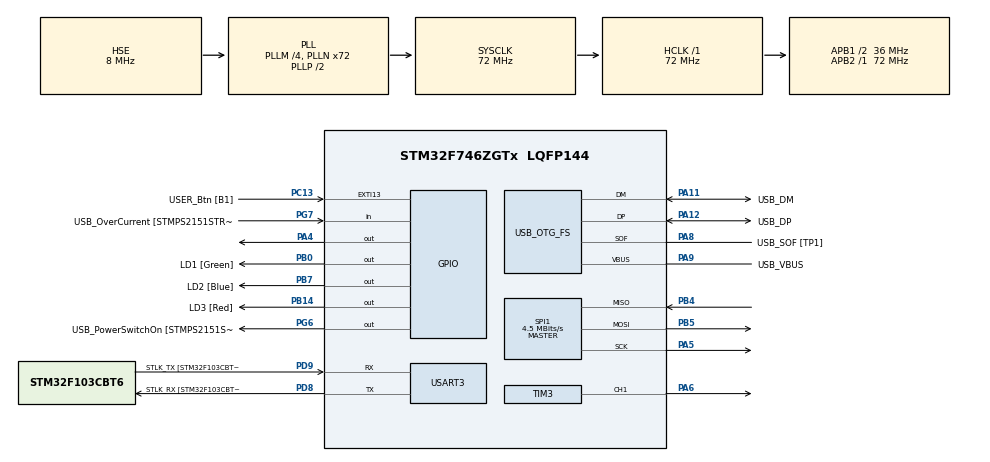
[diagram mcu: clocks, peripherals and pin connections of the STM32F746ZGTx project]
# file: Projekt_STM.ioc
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Mcu.Family=STM32F7
Mcu.Name=STM32F746ZGTx
Mcu.Package=LQFP144
NVIC.PriorityGroup=NVIC_PRIORITYGROUP_4
PA1.GPIO_Label=RMII_REF_CLK [LAN8742A-CZ-TR_REFCLK0]
PA1.Signal=ETH_REF_CLK
PA10.GPIO_Label=USB_ID
PA10.Signal=USB_OTG_FS_ID
PA11.GPIO_Label=USB_DM
PA11.Mode=Device_Only
PA11.Signal=USB_OTG_FS_DM
PA12.GPIO_Label=USB_DP
PA12.Mode=Device_Only
PA12.Signal=USB_OTG_FS_DP
PA13.GPIO_Label=TMS
PA13.Mode=Serial_Wire
PA13.Signal=SYS_JTMS-SWDIO
PA14.GPIO_Label=TCK
PA14.Mode=Serial_Wire
PA14.Signal=SYS_JTCK-SWCLK
PA2.GPIO_Label=RMII_MDIO [LAN8742A-CZ-TR_MDIO]
PA2.Signal=ETH_MDIO
PA4.Signal=GPIO_Output
PA5.Mode=Full_Duplex_Master
PA5.Signal=SPI1_SCK
PA6.Signal=S_TIM3_CH1
PA7.GPIO_Label=RMII_CRS_DV [LAN8742A-CZ-TR_CRS_DV]
PA7.Signal=ETH_CRS_DV
PA8.GPIO_Label=USB_SOF [TP1]
PA8.Mode=Activate_SOF_FS
PA8.Signal=USB_OTG_FS_SOF
PA9.GPIO_Label=USB_VBUS
PA9.Mode=Activate_VBUS
PA9.Signal=USB_OTG_FS_VBUS
PB0.GPIO_Label=LD1 [Green]
PB0.Signal=GPIO_Output
PB13.GPIO_Label=RMII_TXD1 [LAN8742A-CZ-TR_TXD1]
PB13.Signal=ETH_TXD1
PB14.GPIO_Label=LD3 [Red]
PB14.Signal=GPIO_Output
PB3.GPIO_Label=SW0
PB3.Signal=SYS_JTDO-SWO
PB4.Mode=Full_Duplex_Master
PB4.Signal=SPI1_MISO
PB5.Mode=Full_Duplex_Master
PB5.Signal=SPI1_MOSI
PB7.GPIO_Label=LD2 [Blue]
PB7.Signal=GPIO_Output
PC1.GPIO_Label=RMII_MDC [LAN8742A-CZ-TR_MDC]
PC1.Signal=ETH_MDC
PC13.GPIO_Label=USER_Btn [B1]
PC13.Signal=GPXTI13
PC14/OSC32_IN.Mode=LSE-External-Oscillator
PC14/OSC32_IN.Signal=RCC_OSC32_IN
PC15/OSC32_OUT.Mode=LSE-External-Oscillator
PC15/OSC32_OUT.Signal=RCC_OSC32_OUT
PC4.GPIO_Label=RMII_RXD0 [LAN8742A-CZ-TR_RXD0]
PC4.Signal=ETH_RXD0
PC5.GPIO_Label=RMII_RXD1 [LAN8742A-CZ-TR_RXD1]
PC5.Signal=ETH_RXD1
PD8.GPIO_Label=STLK_RX [STM32F103CBT6_PA3]
PD8.Mode=Asynchronous
PD8.Signal=USART3_TX
PD9.GPIO_Label=STLK_TX [STM32F103CBT6_PA2]
PD9.Mode=Asynchronous
PD9.Signal=USART3_RX
PG11.GPIO_Label=RMII_TX_EN [LAN8742A-CZ-TR_TXEN]
PG11.Signal=ETH_TX_EN
PG13.GPIO_Label=RMII_TXD0 [LAN8742A-CZ-TR_TXD0]
PG13.Signal=ETH_TXD0
PG6.GPIO_Label=USB_PowerSwitchOn [STMPS2151STR_EN]
PG6.Signal=GPIO_Output
PG7.GPIO_Label=USB_OverCurrent [STMPS2151STR_FAULT]
PG7.Signal=GPIO_Input
PH0/OSC_IN.GPIO_Label=MCO [STM32F103CBT6_PA8]
PH0/OSC_IN.Mode=HSE-External-Clock-Source
PH0/OSC_IN.Signal=RCC_OSC_IN
PH1/OSC_OUT.Mode=HSE-External-Clock-Source
PH1/OSC_OUT.Signal=RCC_OSC_OUT
ProjectManager.HeapSize=0x200
ProjectManager.StackSize=0x400
ProjectManager.TargetToolchain=STM32CubeIDE
RCC.48MHZClocksFreq_Value=24000000
RCC.AHBFreq_Value=72000000
RCC.APB1CLKDivider=RCC_HCLK_DIV2
RCC.APB1Freq_Value=36000000
RCC.APB1TimFreq_Value=72000000
RCC.APB2Freq_Value=72000000
RCC.APB2TimFreq_Value=72000000
RCC.CortexFreq_Value=72000000
RCC.HCLKFreq_Value=72000000
RCC.HSE_VALUE=8000000
RCC.HSI_VALUE=16000000
RCC.PLLM=4
RCC.PLLMUL=RCC_PLL_MUL9
RCC.PLLN=72
RCC.PLLQ=3
RCC.PRESCALERUSB=RCC_USBCLKSOURCE_PLL_DIV1_5
RCC.SYSCLKFreq_VALUE=72000000
RCC.SYSCLKSource=RCC_SYSCLKSOURCE_PLLCLK
RCC.SYSCLKSourceVirtual=RCC_SYSCLKSOURCE_PLLCLK
RCC.USBFreq_Value=48000000
RCC.VCOOutputFreq_Value=144000000
SH.S_TIM3_CH1.0=TIM3_CH1,PWM Generation1 CH1
SPI1.BaudRatePrescaler=SPI_BAUDRATEPRESCALER_16
SPI1.CalculateBaudRate=4.5 MBits/s
SPI1.DataSize=SPI_DATASIZE_8BIT
SPI1.Direction=SPI_DIRECTION_2LINES
SPI1.Mode=SPI_MODE_MASTER
SPI1.VirtualType=VM_MASTER
TIM3.AutoReloadPreload=TIM_AUTORELOAD_PRELOAD_ENABLE
TIM3.Channel-PWM\ Generation1\ CH1=TIM_CHANNEL_1
TIM3.Period=9999
TIM3.Prescaler=7199
USART3.VirtualMode-Asynchronous=VM_ASYNC
USB_OTG_FS.VirtualMode=Device_Only
VP_TIM3_VS_ClockSourceINT.Mode=Internal
board=NUCLEO-F746ZG

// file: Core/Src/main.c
/* USER CODE BEGIN Header */
/**
  ******************************************************************************
  * @file           : main.c
  * @brief          : Main program body
  ******************************************************************************
  * @attention
  *
  * Copyright (c) 2022 STMicroelectronics.
  * All rights reserved.
  *
  * This software is licensed under terms that can be found in the LICENSE file
  * in the root directory of this software component.
  * If no LICENSE file comes with this software, it is provided AS-IS.
  *
  ******************************************************************************
  */
/* USER CODE END Header */
#include "main.h"

/* USER CODE BEGIN Includes */
#include "BMPXX80.h"
/* USER CODE END Includes */

/* USER CODE BEGIN PD */
typedef float float32_t;

typedef struct{
	float32_t Kp;
	float32_t Ki;
	float32_t Kd;
	float32_t dt;
}pid_parameters_t;

typedef struct{
	pid_parameters_t p;
	float32_t previous_error, previous_integral;
}
	pid_t;
/* USER CODE END PD */

/* USER CODE BEGIN PM */
float32_t calculate_discrete_pid(pid_t* pid, float32_t setpoint, float32_t measured){
	float32_t u=0, P, I, D, error, integral, derivative;

	error = setpoint-measured;

	P = pid->p.Kp * error;

	integral = pid->previous_integral + (error+pid->previous_error) ;
	pid->previous_integral = integral;
	I = pid->p.Ki*integral*(pid->p.dt/2.0);

	derivative = (error - pid->previous_error)/pid->p.dt;
	pid->previous_error = error;
	D = pid->p.Kd*derivative;

	u = P  + I + D;

	return u;
}
/* USER CODE END PM */

SPI_HandleTypeDef hspi1;

TIM_HandleTypeDef htim2;
TIM_HandleTypeDef htim3;
TIM_HandleTypeDef htim7;

UART_HandleTypeDef huart3;

PCD_HandleTypeDef hpcd_USB_OTG_FS;

void SystemClock_Config(void);
static void MX_GPIO_Init(void);
static void MX_USART3_UART_Init(void);
static void MX_USB_OTG_FS_PCD_Init(void);
static void MX_SPI1_Init(void);
static void MX_TIM7_Init(void);
static void MX_TIM2_Init(void);
static void MX_TIM3_Init(void);

/* USER CODE BEGIN 0 */
	float32_t temperature;
	int32_t pressure;
	float32_t pulse_pid = 0;
	float32_t pwm;
	float32_t ograniczenie;
/* USER CODE END 0 */

int main(void)
{
  /* USER CODE BEGIN 1 */

	    pid_t pid1 = { .p.Kp=0.3, .p.Ki=0.000365, .p.Kd=3, .p.dt=10, .previous_error=0, .previous_integral=0};
  /* USER CODE END 1 */

  /* MCU Configuration--------------------------------------------------------*/

  /* Reset of all peripherals, Initializes the Flash interface and the Systick. */
  HAL_Init();

  /* Configure the system clock */
  SystemClock_Config();

  /* Initialize all configured peripherals */
  MX_GPIO_Init();
  MX_USART3_UART_Init();
  MX_USB_OTG_FS_PCD_Init();
  MX_SPI1_Init();
  MX_TIM3_Init();
  /* USER CODE BEGIN 2 */
  	  BMP280_Init(&hspi1, BMP280_TEMPERATURE_16BIT, BMP280_STANDARD, BMP280_FORCEDMODE);
  	  HAL_TIM_PWM_Start (&htim3, TIM_CHANNEL_1);
  /* USER CODE END 2 */

  /* Infinite loop */
  while (1)
  {

    /* USER CODE BEGIN 3 */

	  BMP280_ReadTemperatureAndPressure(&temperature, &pressure);
	  HAL_Delay(1000);

	  float32_t setpoint = 35.0;

	  pulse_pid = calculate_discrete_pid(&pid1, setpoint, temperature);
	  ograniczenie = (setpoint-temperature)/pulse_pid;

	  if(ograniczenie < 0)
	  {
		  ograniczenie=-ograniczenie;
	  }

	  if(pulse_pid>ograniczenie){
		  pwm = 10000;
	  }
	  else if(ograniczenie == 0 )
	  {
		  pwm = 1000*pulse_pid;
		  pwm=1000+pwm;
	  }
	  else
	  {
		  pwm = 1000*pulse_pid;
		  pwm=1000+pwm;
	  }

	  __HAL_TIM_SET_COMPARE(&htim3, TIM_CHANNEL_1, pwm);

  }
  /* USER CODE END 3 */
}

void SystemClock_Config(void)
{
  RCC_OscInitTypeDef RCC_OscInitStruct = {0};
  RCC_ClkInitTypeDef RCC_ClkInitStruct = {0};

  /** Configure LSE Drive Capability
  */
  HAL_PWR_EnableBkUpAccess();
  /** Configure the main internal regulator output voltage
  */
  __HAL_RCC_PWR_CLK_ENABLE();
  __HAL_PWR_VOLTAGESCALING_CONFIG(PWR_REGULATOR_VOLTAGE_SCALE3);
  /** Initializes the RCC Oscillators according to the specified parameters
  * in the RCC_OscInitTypeDef structure.
  */
  RCC_OscInitStruct.OscillatorType = RCC_OSCILLATORTYPE_HSE;
  RCC_OscInitStruct.HSEState = RCC_HSE_BYPASS;
  RCC_OscInitStruct.PLL.PLLState = RCC_PLL_ON;
  RCC_OscInitStruct.PLL.PLLSource = RCC_PLLSOURCE_HSE;
  RCC_OscInitStruct.PLL.PLLM = 4;
  RCC_OscInitStruct.PLL.PLLN = 72;
  RCC_OscInitStruct.PLL.PLLP = RCC_PLLP_DIV2;
  RCC_OscInitStruct.PLL.PLLQ = 3;
  if (HAL_RCC_OscConfig(&RCC_OscInitStruct) != HAL_OK)
  {
    Error_Handler();
  }
  /** Initializes the CPU, AHB and APB buses clocks
  */
  RCC_ClkInitStruct.ClockType = RCC_CLOCKTYPE_HCLK|RCC_CLOCKTYPE_SYSCLK
                              |RCC_CLOCKTYPE_PCLK1|RCC_CLOCKTYPE_PCLK2;
  RCC_ClkInitStruct.SYSCLKSource = RCC_SYSCLKSOURCE_PLLCLK;
  RCC_ClkInitStruct.AHBCLKDivider = RCC_SYSCLK_DIV1;
  RCC_ClkInitStruct.APB1CLKDivider = RCC_HCLK_DIV2;
  RCC_ClkInitStruct.APB2CLKDivider = RCC_HCLK_DIV1;

  if (HAL_RCC_ClockConfig(&RCC_ClkInitStruct, FLASH_LATENCY_2) != HAL_OK)
  {
    Error_Handler();
  }
}

static void MX_SPI1_Init(void)
{

  /* SPI1 parameter configuration*/
  hspi1.Instance = SPI1;
  hspi1.Init.Mode = SPI_MODE_MASTER;
  hspi1.Init.Direction = SPI_DIRECTION_2LINES;
  hspi1.Init.DataSize = SPI_DATASIZE_8BIT;
  hspi1.Init.CLKPolarity = SPI_POLARITY_LOW;
  hspi1.Init.CLKPhase = SPI_PHASE_1EDGE;
  hspi1.Init.NSS = SPI_NSS_SOFT;
  hspi1.Init.BaudRatePrescaler = SPI_BAUDRATEPRESCALER_8;
  hspi1.Init.FirstBit = SPI_FIRSTBIT_MSB;
  hspi1.Init.TIMode = SPI_TIMODE_DISABLE;
  hspi1.Init.CRCCalculation = SPI_CRCCALCULATION_DISABLE;
  hspi1.Init.CRCPolynomial = 7;
  hspi1.Init.CRCLength = SPI_CRC_LENGTH_DATASIZE;
  hspi1.Init.NSSPMode = SPI_NSS_PULSE_ENABLE;
  if (HAL_SPI_Init(&hspi1) != HAL_OK)
  {
    Error_Handler();
  }

}

static void MX_TIM2_Init(void)
{

  TIM_ClockConfigTypeDef sClockSourceConfig = {0};
  TIM_MasterConfigTypeDef sMasterConfig = {0};
  TIM_OC_InitTypeDef sConfigOC = {0};

  htim2.Instance = TIM2;
  htim2.Init.Prescaler = 7199;
  htim2.Init.CounterMode = TIM_COUNTERMODE_UP;
  htim2.Init.Period = 9999;
  htim2.Init.ClockDivision = TIM_CLOCKDIVISION_DIV1;
  htim2.Init.AutoReloadPreload = TIM_AUTORELOAD_PRELOAD_ENABLE;
  if (HAL_TIM_Base_Init(&htim2) != HAL_OK)
  {
    Error_Handler();
  }
  sClockSourceConfig.ClockSource = TIM_CLOCKSOURCE_INTERNAL;
  if (HAL_TIM_ConfigClockSource(&htim2, &sClockSourceConfig) != HAL_OK)
  {
    Error_Handler();
  }
  if (HAL_TIM_PWM_Init(&htim2) != HAL_OK)
  {
    Error_Handler();
  }
  sMasterConfig.MasterOutputTrigger = TIM_TRGO_RESET;
  sMasterConfig.MasterSlaveMode = TIM_MASTERSLAVEMODE_DISABLE;
  if (HAL_TIMEx_MasterConfigSynchronization(&htim2, &sMasterConfig) != HAL_OK)
  {
    Error_Handler();
  }
  sConfigOC.OCMode = TIM_OCMODE_PWM1;
  sConfigOC.Pulse = 0;
  sConfigOC.OCPolarity = TIM_OCPOLARITY_HIGH;
  sConfigOC.OCFastMode = TIM_OCFAST_DISABLE;
  if (HAL_TIM_PWM_ConfigChannel(&htim2, &sConfigOC, TIM_CHANNEL_4) != HAL_OK)
  {
    Error_Handler();
  }
  HAL_TIM_MspPostInit(&htim2);

}

static void MX_TIM3_Init(void)
{

  TIM_ClockConfigTypeDef sClockSourceConfig = {0};
  TIM_MasterConfigTypeDef sMasterConfig = {0};
  TIM_OC_InitTypeDef sConfigOC = {0};

  htim3.Instance = TIM3;
  htim3.Init.Prescaler = 7199;
  htim3.Init.CounterMode = TIM_COUNTERMODE_UP;
  htim3.Init.Period = 9999;
  htim3.Init.ClockDivision = TIM_CLOCKDIVISION_DIV1;
  htim3.Init.AutoReloadPreload = TIM_AUTORELOAD_PRELOAD_ENABLE;
  if (HAL_TIM_Base_Init(&htim3) != HAL_OK)
  {
    Error_Handler();
  }
  sClockSourceConfig.ClockSource = TIM_CLOCKSOURCE_INTERNAL;
  if (HAL_TIM_ConfigClockSource(&htim3, &sClockSourceConfig) != HAL_OK)
  {
    Error_Handler();
  }
  if (HAL_TIM_PWM_Init(&htim3) != HAL_OK)
  {
    Error_Handler();
  }
  sMasterConfig.MasterOutputTrigger = TIM_TRGO_RESET;
  sMasterConfig.MasterSlaveMode = TIM_MASTERSLAVEMODE_DISABLE;
  if (HAL_TIMEx_MasterConfigSynchronization(&htim3, &sMasterConfig) != HAL_OK)
  {
    Error_Handler();
  }
  sConfigOC.OCMode = TIM_OCMODE_PWM1;
  sConfigOC.Pulse = 0;
  sConfigOC.OCPolarity = TIM_OCPOLARITY_HIGH;
  sConfigOC.OCFastMode = TIM_OCFAST_DISABLE;
  if (HAL_TIM_PWM_ConfigChannel(&htim3, &sConfigOC, TIM_CHANNEL_1) != HAL_OK)
  {
    Error_Handler();
  }
  HAL_TIM_MspPostInit(&htim3);

}

static void MX_TIM7_Init(void)
{

  TIM_MasterConfigTypeDef sMasterConfig = {0};

  htim7.Instance = TIM7;
  htim7.Init.Prescaler = 0;
  htim7.Init.CounterMode = TIM_COUNTERMODE_UP;
  htim7.Init.Period = 65535;
  htim7.Init.AutoReloadPreload = TIM_AUTORELOAD_PRELOAD_DISABLE;
  if (HAL_TIM_Base_Init(&htim7) != HAL_OK)
  {
    Error_Handler();
  }
  sMasterConfig.MasterOutputTrigger = TIM_TRGO_RESET;
  sMasterConfig.MasterSlaveMode = TIM_MASTERSLAVEMODE_DISABLE;
  if (HAL_TIMEx_MasterConfigSynchronization(&htim7, &sMasterConfig) != HAL_OK)
  {
    Error_Handler();
  }

}

static void MX_USART3_UART_Init(void)
{

  huart3.Instance = USART3;
  huart3.Init.BaudRate = 115200;
  huart3.Init.WordLength = UART_WORDLENGTH_8B;
  huart3.Init.StopBits = UART_STOPBITS_1;
  huart3.Init.Parity = UART_PARITY_NONE;
  huart3.Init.Mode = UART_MODE_TX_RX;
  huart3.Init.HwFlowCtl = UART_HWCONTROL_NONE;
  huart3.Init.OverSampling = UART_OVERSAMPLING_16;
  huart3.Init.OneBitSampling = UART_ONE_BIT_SAMPLE_DISABLE;
  huart3.AdvancedInit.AdvFeatureInit = UART_ADVFEATURE_NO_INIT;
  if (HAL_UART_Init(&huart3) != HAL_OK)
  {
    Error_Handler();
  }

}

static void MX_USB_OTG_FS_PCD_Init(void)
{

  hpcd_USB_OTG_FS.Instance = USB_OTG_FS;
  hpcd_USB_OTG_FS.Init.dev_endpoints = 6;
  hpcd_USB_OTG_FS.Init.speed = PCD_SPEED_FULL;
  hpcd_USB_OTG_FS.Init.dma_enable = DISABLE;
  hpcd_USB_OTG_FS.Init.phy_itface = PCD_PHY_EMBEDDED;
  hpcd_USB_OTG_FS.Init.Sof_enable = ENABLE;
  hpcd_USB_OTG_FS.Init.low_power_enable = DISABLE;
  hpcd_USB_OTG_FS.Init.lpm_enable = DISABLE;
  hpcd_USB_OTG_FS.Init.vbus_sensing_enable = ENABLE;
  hpcd_USB_OTG_FS.Init.use_dedicated_ep1 = DISABLE;
  if (HAL_PCD_Init(&hpcd_USB_OTG_FS) != HAL_OK)
  {
    Error_Handler();
  }

}

static void MX_GPIO_Init(void)
{
  GPIO_InitTypeDef GPIO_InitStruct = {0};

  /* GPIO Ports Clock Enable */
  __HAL_RCC_GPIOC_CLK_ENABLE();
  __HAL_RCC_GPIOH_CLK_ENABLE();
  __HAL_RCC_GPIOA_CLK_ENABLE();
  __HAL_RCC_GPIOB_CLK_ENABLE();
  __HAL_RCC_GPIOD_CLK_ENABLE();
  __HAL_RCC_GPIOG_CLK_ENABLE();

  /*Configure GPIO pin Output Level */
  HAL_GPIO_WritePin(GPIOA, GPIO_PIN_4, GPIO_PIN_RESET);

  /*Configure GPIO pin Output Level */
  HAL_GPIO_WritePin(USB_PowerSwitchOn_GPIO_Port, USB_PowerSwitchOn_Pin, GPIO_PIN_RESET);

  /*Configure GPIO pin : USER_Btn_Pin */
  GPIO_InitStruct.Pin = USER_Btn_Pin;
  GPIO_InitStruct.Mode = GPIO_MODE_IT_RISING;
  GPIO_InitStruct.Pull = GPIO_NOPULL;
  HAL_GPIO_Init(USER_Btn_GPIO_Port, &GPIO_InitStruct);

  /*Configure GPIO pins : RMII_MDC_Pin RMII_RXD0_Pin RMII_RXD1_Pin */
  GPIO_InitStruct.Pin = RMII_MDC_Pin|RMII_RXD0_Pin|RMII_RXD1_Pin;
  GPIO_InitStruct.Mode = GPIO_MODE_AF_PP;
  GPIO_InitStruct.Pull = GPIO_NOPULL;
  GPIO_InitStruct.Speed = GPIO_SPEED_FREQ_VERY_HIGH;
  GPIO_InitStruct.Alternate = GPIO_AF11_ETH;
  HAL_GPIO_Init(GPIOC, &GPIO_InitStruct);

  /*Configure GPIO pins : RMII_REF_CLK_Pin RMII_MDIO_Pin RMII_CRS_DV_Pin */
  GPIO_InitStruct.Pin = RMII_REF_CLK_Pin|RMII_MDIO_Pin|RMII_CRS_DV_Pin;
  GPIO_InitStruct.Mode = GPIO_MODE_AF_PP;
  GPIO_InitStruct.Pull = GPIO_NOPULL;
  GPIO_InitStruct.Speed = GPIO_SPEED_FREQ_VERY_HIGH;
  GPIO_InitStruct.Alternate = GPIO_AF11_ETH;
  HAL_GPIO_Init(GPIOA, &GPIO_InitStruct);

  /*Configure GPIO pin : PA4 */
  GPIO_InitStruct.Pin = GPIO_PIN_4;
  GPIO_InitStruct.Mode = GPIO_MODE_OUTPUT_PP;
  GPIO_InitStruct.Pull = GPIO_NOPULL;
  GPIO_InitStruct.Speed = GPIO_SPEED_FREQ_LOW;
  HAL_GPIO_Init(GPIOA, &GPIO_InitStruct);

  /*Configure GPIO pins : LD1_Pin Led1_Pin LD2_Pin */
  GPIO_InitStruct.Mode = GPIO_MODE_OUTPUT_PP;
  GPIO_InitStruct.Pull = GPIO_NOPULL;
  GPIO_InitStruct.Speed = GPIO_SPEED_FREQ_LOW;
  HAL_GPIO_Init(GPIOB, &GPIO_InitStruct);

  /*Configure GPIO pin : RMII_TXD1_Pin */
  GPIO_InitStruct.Pin = RMII_TXD1_Pin;
  GPIO_InitStruct.Mode = GPIO_MODE_AF_PP;
  GPIO_InitStruct.Pull = GPIO_NOPULL;
  GPIO_InitStruct.Speed = GPIO_SPEED_FREQ_VERY_HIGH;
  GPIO_InitStruct.Alternate = GPIO_AF11_ETH;
  HAL_GPIO_Init(RMII_TXD1_GPIO_Port, &GPIO_InitStruct);

  /*Configure GPIO pin : USB_PowerSwitchOn_Pin */
  GPIO_InitStruct.Pin = USB_PowerSwitchOn_Pin;
  GPIO_InitStruct.Mode = GPIO_MODE_OUTPUT_PP;
  GPIO_InitStruct.Pull = GPIO_NOPULL;
  GPIO_InitStruct.Speed = GPIO_SPEED_FREQ_LOW;
  HAL_GPIO_Init(USB_PowerSwitchOn_GPIO_Port, &GPIO_InitStruct);

  /*Configure GPIO pin : USB_OverCurrent_Pin */
  GPIO_InitStruct.Pin = USB_OverCurrent_Pin;
  GPIO_InitStruct.Mode = GPIO_MODE_INPUT;
  GPIO_InitStruct.Pull = GPIO_NOPULL;
  HAL_GPIO_Init(USB_OverCurrent_GPIO_Port, &GPIO_InitStruct);

  /*Configure GPIO pins : RMII_TX_EN_Pin RMII_TXD0_Pin */
  GPIO_InitStruct.Pin = RMII_TX_EN_Pin|RMII_TXD0_Pin;
  GPIO_InitStruct.Mode = GPIO_MODE_AF_PP;
  GPIO_InitStruct.Pull = GPIO_NOPULL;
  GPIO_InitStruct.Speed = GPIO_SPEED_FREQ_VERY_HIGH;
  GPIO_InitStruct.Alternate = GPIO_AF11_ETH;
  HAL_GPIO_Init(GPIOG, &GPIO_InitStruct);

}

void Error_Handler(void)
{
  __disable_irq();
  while (1)
  {
  }
}
